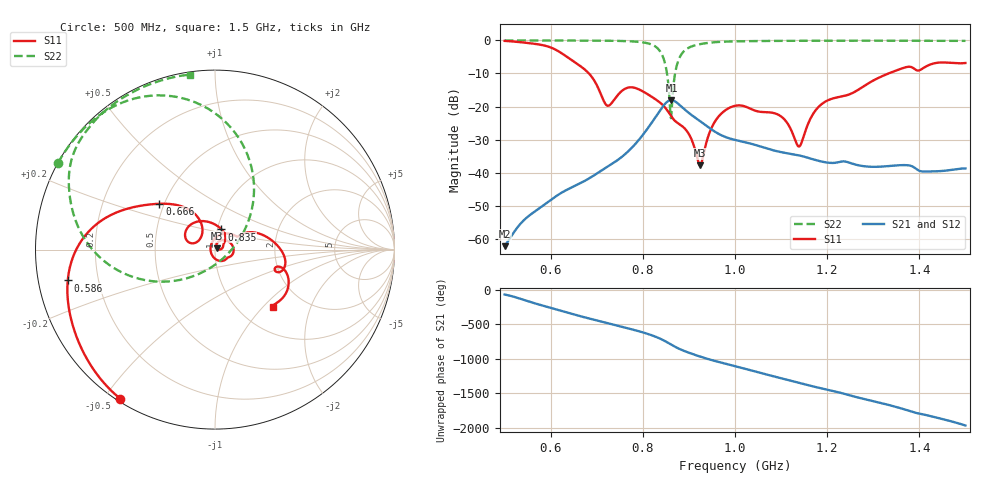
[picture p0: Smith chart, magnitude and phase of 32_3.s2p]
! TOUCHSTONE file generated by CST MICROWAVE STUDIO
! Date and time: Fri Oct 30 08:07:43 2020
! Project name: Scenario_1_Circular_Tissue_out_of_Line.cst
! Parameters = {dy1=191.571; L_HA=400; MT=2.54; Rad_Dielectric=30; Rad_Lower=7.3; Rad_Upper=30; a_HA=580; a_WG=246; b_HA=500; b_WG=121; c_HA=0; c_WG=187; d_feed=85; dx1=520; h_feed=15; h_lower=18; h_upper=40}
! Header version: 2018
! Port assignment regex: !\s*Touchstone port\s*([0-9]+)\s*=\s*(CST MWS port|CST DS port)\s*([0-9]+|Zmin|Zmax)\s*\(\"(.*)\"\)(\s*mode\s*([0-9]+))?.*
! Touchstone port assignment:
! Touchstone port 1 = CST MWS port 1 ("")
! Touchstone port 2 = CST MWS port 2 ("")
# GHz S DB R 50
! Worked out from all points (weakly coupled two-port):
!   1001 points, 500 MHz to 1.5 GHz, reference 50 ohm
!   highest |S21| = -18.08 dB at 862 MHz (marker M1); lowest = -62.3 dB at 500 MHz (marker M2)
!   lowest |S11| = -37.8 dB at 924 MHz (marker M3), VSWR 1.03, Z = 51.1 + j0.755 ohm
!   |S11| at or under -10 dB: 683 MHz to 1.333 GHz (650.1 MHz wide, 64.5 % of centre)
!   |S22| runs from -23.5 to 0.0 dB; largest |S21 - S12| = 4.4e-05
!   S11 on the Smith chart (normalised r, x): 500 MHz: 0.01, -0.55; 586 MHz: 0.09, -0.10; 666 MHz: 0.47, +0.29; 835 MHz: 1.05, +0.24; 1.5 GHz: 1.42, -1.14
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0.5  -0.14 -122.4  -62.26 -70.9  -62.26 -70.9  -0.01 151.1
0.586  -1.53 -168.2  -49.70 122.6  -49.70 122.6  -0.02 145.2
0.623  -3.81 164.8  -46.13 51.6  -46.13 51.6  -0.02 142.3
0.666  -7.93 140.5  -43.09 -27.7  -43.09 -27.7  -0.04 138.5
0.667  -8.04 139.9  -43.02 -29.4  -43.02 -29.4  -0.04 138.4
0.723  -19.75 141.8  -38.25 -125.8  -38.25 -125.8  -0.09 132.0
0.772  -14.18 142.5  -33.05 152.3  -33.05 152.3  -0.26 123.1
0.834  -18.46 73.4  -21.84 20.9  -21.84 20.9  -2.68 87.4
0.835  -18.57 72.2  -21.63 18.0  -21.63 18.0  -2.84 86.0
0.85  -20.60 52.3  -18.91 -31.5  -18.91 -31.5  -8.11 56.4
0.858  -22.19 43.0  -18.16 -62.0  -18.16 -62.0  -17.79 17.3
0.862  -23.04 39.8  -18.08 -77.6  -18.08 -77.6  -22.28 -80.9
0.872  -24.61 34.7  -18.65 -114.4  -18.65 -114.4  -8.54 -151.6
0.881  -25.48 28.2  -19.69 -143.2  -19.69 -143.2  -4.83 -169.7
0.924  -37.84 35.2  -24.40 111.6  -24.40 111.6  -1.13 157.8
0.956  -24.65 58.8  -27.58 47.9  -27.58 47.9  -0.54 148.7
1  -19.78 6.1  -30.10 -27.4  -30.10 -27.4  -0.28 140.7
1.097  -22.71 -60.3  -33.71 163.0  -33.71 163.0  -0.13 130.2
1.138  -32.08 -170.5  -34.76 92.7  -34.76 92.7  -0.11 126.7
1.167  -22.82 82.3  -35.87 42.9  -35.87 42.8  -0.10 124.4
1.334  -9.95 9.7  -38.01 129.6  -38.01 129.6  -0.09 111.6
1.5  -6.83 -44.7  -38.74 -166.5  -38.74 -166.5  -0.14 98.1
